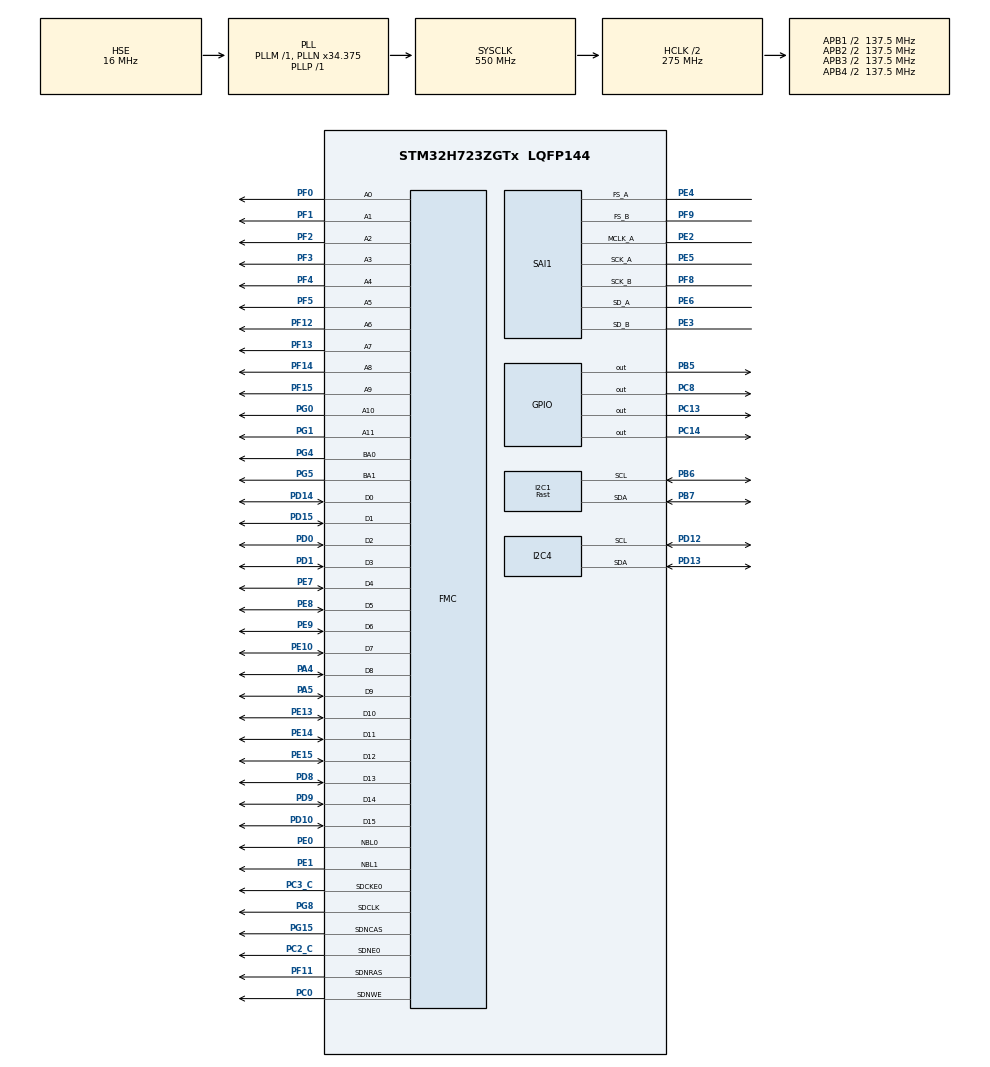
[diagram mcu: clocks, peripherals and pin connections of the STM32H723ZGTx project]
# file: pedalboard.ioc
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Dma.Request0=SAI1_A
Dma.Request1=SAI1_B
Dma.SAI1_A.0.Direction=DMA_MEMORY_TO_PERIPH
Dma.SAI1_A.0.EventEnable=DISABLE
Dma.SAI1_A.0.FIFOMode=DMA_FIFOMODE_ENABLE
Dma.SAI1_A.0.FIFOThreshold=DMA_FIFO_THRESHOLD_FULL
Dma.SAI1_A.0.Instance=DMA1_Stream0
Dma.SAI1_A.0.MemBurst=DMA_MBURST_SINGLE
Dma.SAI1_A.0.MemDataAlignment=DMA_MDATAALIGN_WORD
Dma.SAI1_A.0.MemInc=DMA_MINC_ENABLE
Dma.SAI1_A.0.Mode=DMA_CIRCULAR
Dma.SAI1_A.0.PeriphBurst=DMA_PBURST_SINGLE
Dma.SAI1_A.0.PeriphDataAlignment=DMA_PDATAALIGN_WORD
Dma.SAI1_A.0.PeriphInc=DMA_PINC_DISABLE
Dma.SAI1_A.0.Polarity=HAL_DMAMUX_REQ_GEN_RISING
Dma.SAI1_A.0.Priority=DMA_PRIORITY_VERY_HIGH
Dma.SAI1_A.0.RequestNumber=1
Dma.SAI1_A.0.SignalID=NONE
Dma.SAI1_A.0.SyncEnable=DISABLE
Dma.SAI1_A.0.SyncPolarity=HAL_DMAMUX_SYNC_NO_EVENT
Dma.SAI1_A.0.SyncRequestNumber=1
Dma.SAI1_A.0.SyncSignalID=NONE
Dma.SAI1_B.1.Direction=DMA_PERIPH_TO_MEMORY
Dma.SAI1_B.1.EventEnable=ENABLE
Dma.SAI1_B.1.FIFOMode=DMA_FIFOMODE_DISABLE
Dma.SAI1_B.1.Instance=DMA1_Stream1
Dma.SAI1_B.1.MemDataAlignment=DMA_MDATAALIGN_WORD
Dma.SAI1_B.1.MemInc=DMA_MINC_ENABLE
Dma.SAI1_B.1.Mode=DMA_CIRCULAR
Dma.SAI1_B.1.PeriphDataAlignment=DMA_PDATAALIGN_WORD
Dma.SAI1_B.1.PeriphInc=DMA_PINC_DISABLE
Dma.SAI1_B.1.Polarity=HAL_DMAMUX_REQ_GEN_RISING
Dma.SAI1_B.1.Priority=DMA_PRIORITY_VERY_HIGH
Dma.SAI1_B.1.RequestNumber=1
Dma.SAI1_B.1.SignalID=NONE
Dma.SAI1_B.1.SyncEnable=ENABLE
Dma.SAI1_B.1.SyncPolarity=HAL_DMAMUX_SYNC_RISING
Dma.SAI1_B.1.SyncRequestNumber=1
Dma.SAI1_B.1.SyncSignalID=NONE
FMC.CASLatency2=FMC_SDRAM_CAS_LATENCY_2
FMC.ExitSelfRefreshDelay2=9
FMC.LoadToActiveDelay2=2
FMC.RCDDelay2=2
FMC.RPDelay1=2
FMC.RPDelay2=2
FMC.ReadBurst1=FMC_SDRAM_RBURST_ENABLE
FMC.ReadBurst2=FMC_SDRAM_RBURST_ENABLE
FMC.ReadPipeDelay1=FMC_SDRAM_RPIPE_DELAY_2
FMC.ReadPipeDelay2=FMC_SDRAM_RPIPE_DELAY_2
FMC.RowCycleDelay1=8
FMC.RowCycleDelay2=8
FMC.SDClockPeriod1=FMC_SDRAM_CLOCK_PERIOD_2
FMC.SDClockPeriod2=FMC_SDRAM_CLOCK_PERIOD_2
FMC.SelfRefreshTime2=6
FMC.WriteRecoveryTime2=4
I2C1.I2C_Fall_Time=100
I2C1.I2C_Rise_Time=100
I2C1.I2C_Speed_Mode=I2C_Fast
I2C1.Speed=400
I2C1.Timing=0xC0210510
I2C4.Timing=0x60404E72
Mcu.Family=STM32H7
Mcu.Name=STM32H723ZGTx
Mcu.Package=LQFP144
NVIC.DMA1_Stream0_IRQn=true\:0\:0\:false\:false\:true\:false\:true\:true
NVIC.DMA1_Stream1_IRQn=true\:0\:0\:false\:false\:true\:false\:true\:true
NVIC.DMAMUX1_OVR_IRQn=true\:0\:0\:false\:false\:true\:false\:true\:true
NVIC.PriorityGroup=NVIC_PRIORITYGROUP_4
NVIC.SAI1_IRQn=true\:0\:0\:false\:false\:true\:true\:true\:true
PA13(JTMS/SWDIO).Mode=Trace_Asynchronous_SW
PA13(JTMS/SWDIO).Signal=DEBUG_JTMS-SWDIO
PA14(JTCK/SWCLK).Mode=Trace_Asynchronous_SW
PA14(JTCK/SWCLK).Signal=DEBUG_JTCK-SWCLK
PA4.Signal=FMC_D8_DA8
PA5.Signal=FMC_D9_DA9
PB3(JTDO/TRACESWO).Mode=Trace_Asynchronous_SW
PB3(JTDO/TRACESWO).Signal=DEBUG_JTDO-SWO
PB5.Signal=GPIO_Output
PB6.GPIO_Pu=GPIO_PULLUP
PB6.GPIO_Speed=GPIO_SPEED_FREQ_VERY_HIGH
PB6.Mode=I2C
PB6.Signal=I2C1_SCL
PB7.GPIO_Pu=GPIO_PULLUP
PB7.GPIO_Speed=GPIO_SPEED_FREQ_VERY_HIGH
PB7.Mode=I2C
PB7.Signal=I2C1_SDA
PC0.Signal=FMC_SDNWE
PC13.Signal=GPIO_Output
PC14-OSC32_IN.Signal=GPIO_Output
PC2_C.Mode=SdramChipSelect1_2
PC2_C.Signal=FMC_SDNE0
PC3_C.Mode=SdramChipSelect1_2
PC3_C.Signal=FMC_SDCKE0
PC8.Signal=GPIO_Output
PD0.Signal=FMC_D2_DA2
PD1.Signal=FMC_D3_DA3
PD10.Signal=FMC_D15_DA15
PD12.GPIO_Pu=GPIO_PULLUP
PD12.GPIO_Speed=GPIO_SPEED_FREQ_VERY_HIGH
PD12.Mode=I2C
PD12.Signal=I2C4_SCL
PD13.GPIO_Pu=GPIO_PULLUP
PD13.GPIO_Speed=GPIO_SPEED_FREQ_VERY_HIGH
PD13.Mode=I2C
PD13.Signal=I2C4_SDA
PD14.Signal=FMC_D0_DA0
PD15.Signal=FMC_D1_DA1
PD8.Signal=FMC_D13_DA13
PD9.Signal=FMC_D14_DA14
PE0.Signal=FMC_NBL0
PE1.Signal=FMC_NBL1
PE10.Signal=FMC_D7_DA7
PE13.Signal=FMC_D10_DA10
PE14.Signal=FMC_D11_DA11
PE15.Signal=FMC_D12_DA12
PE2.Mode=SAI_A_MasterWithClock
PE2.Signal=SAI1_MCLK_A
PE3.Mode=SAI_B_AsyncSlave
PE3.Signal=SAI1_SD_B
PE4.Mode=SAI_A_MasterWithClock
PE4.Signal=SAI1_FS_A
PE5.Mode=SAI_A_MasterWithClock
PE5.Signal=SAI1_SCK_A
PE6.Mode=SAI_A_MasterWithClock
PE6.Signal=SAI1_SD_A
PE7.Signal=FMC_D4_DA4
PE8.Signal=FMC_D5_DA5
PE9.Signal=FMC_D6_DA6
PF0.Signal=FMC_A0
PF1.Signal=FMC_A1
PF11.Signal=FMC_SDNRAS
PF12.Signal=FMC_A6
PF13.Signal=FMC_A7
PF14.Signal=FMC_A8
PF15.Signal=FMC_A9
PF2.Signal=FMC_A2
PF3.Signal=FMC_A3
PF4.Signal=FMC_A4
PF5.Signal=FMC_A5
PF8.Mode=SAI_B_AsyncSlave
PF8.Signal=SAI1_SCK_B
PF9.Mode=SAI_B_AsyncSlave
PF9.Signal=SAI1_FS_B
PG0.Signal=FMC_A10
PG1.Signal=FMC_A11
PG15.Signal=FMC_SDNCAS
PG4.Signal=FMC_A14_BA0
PG5.Signal=FMC_A15_BA1
PG8.Signal=FMC_SDCLK
PH0-OSC_IN.Mode=HSE-External-Oscillator
PH0-OSC_IN.Signal=RCC_OSC_IN
PH1-OSC_OUT.Mode=HSE-External-Oscillator
PH1-OSC_OUT.Signal=RCC_OSC_OUT
ProjectManager.HeapSize=0x200
ProjectManager.StackSize=0x400
ProjectManager.TargetToolchain=CMake
RCC.ADCFreq_Value=798000000
RCC.APB1Freq_Value=137500000
RCC.APB2Freq_Value=137500000
RCC.APB3Freq_Value=137500000
RCC.APB4Freq_Value=137500000
RCC.CortexFreq_Value=550000000
RCC.D1PPRE=RCC_APB3_DIV2
RCC.D2PPRE1=RCC_APB1_DIV2
RCC.D2PPRE2=RCC_APB2_DIV2
RCC.D3PPRE=RCC_APB4_DIV2
RCC.DIVM1=1
RCC.DIVM2=8
RCC.DIVM3=5
RCC.DIVN1=34
RCC.DIVN2=399
RCC.DIVN3=96
RCC.DIVP1=1
RCC.DIVP2=1
RCC.DIVP3=25
RCC.DIVQ1=25
RCC.DIVR2=3
RCC.FMCCLockSelection=RCC_FMCCLKSOURCE_PLL2
RCC.HCLKFreq_Value=275000000
RCC.HPRE=RCC_HCLK_DIV2
RCC.HSE_VALUE=16000000
RCC.PLL2FRACN=0
RCC.PLL3FRACN=0
RCC.PLLFRACN=3072
RCC.PLLSourceVirtual=RCC_PLLSOURCE_HSE
RCC.SAI1CLockSelection=RCC_SAI1CLKSOURCE_PLL3
RCC.SYSCLKFreq_VALUE=550000000
RCC.SYSCLKSource=RCC_SYSCLKSOURCE_PLLCLK
RCC.USBFreq_Value=22000000
SAI1.AudioFrequency-SAI_A_MasterWithClock=SAI_AUDIO_FREQUENCY_48K
SAI1.DataSize-SAI_A_MasterWithClock=SAI_DATASIZE_24
SAI1.DataSize-SAI_B_AsyncSlave=SAI_DATASIZE_24
SAI1.ErrorAudioFreq-SAI_A_MasterWithClock=0.0 %
SAI1.FrameLength-SAI_A_MasterWithClock=256
SAI1.FrameLength-SAI_B_AsyncSlave=256
SAI1.Instance-SAI_A_MasterWithClock=SAI$Index_Block_A
SAI1.Instance-SAI_B_AsyncSlave=SAI$Index_Block_B
SAI1.MckOutput-SAI_A_MasterWithClock=SAI_MCK_OUTPUT_ENABLE
SAI1.NoDivider-SAI_A_MasterWithClock=SAI_MASTERDIVIDER_ENABLE
SAI1.RealAudioFreq-SAI_A_MasterWithClock=48.0 KHz
SAI1.SlotActive-SAI_A_MasterWithClock=0x0000FFFF
SAI1.SlotNumber-SAI_A_MasterWithClock=8
SAI1.SlotNumber-SAI_B_AsyncSlave=6
SAI1.SlotSize-SAI_A_MasterWithClock=SAI_SLOTSIZE_32B
SAI1.SlotSize-SAI_B_AsyncSlave=SAI_SLOTSIZE_32B
SAI1.VirtualMode-SAI_A_MasterWithClock=VM_MASTER
SAI1.VirtualMode-SAI_B_AsyncSlave=VM_SLAVE
SAI1.VirtualSlotActive-SAI_A_MasterWithClock=SAI_SLOTACTIVE_ALL
SH.FMC_A0.0=FMC_A0,12b-sda2
SH.FMC_A1.0=FMC_A1,12b-sda2
SH.FMC_A10.0=FMC_A10,12b-sda2
SH.FMC_A11.0=FMC_A11,12b-sda2
SH.FMC_A14_BA0.0=FMC_BA0,FourSdramBanks2
SH.FMC_A15_BA1.0=FMC_BA1,FourSdramBanks2
SH.FMC_A2.0=FMC_A2,12b-sda2
SH.FMC_A3.0=FMC_A3,12b-sda2
SH.FMC_A4.0=FMC_A4,12b-sda2
SH.FMC_A5.0=FMC_A5,12b-sda2
SH.FMC_A6.0=FMC_A6,12b-sda2
SH.FMC_A7.0=FMC_A7,12b-sda2
SH.FMC_A8.0=FMC_A8,12b-sda2
SH.FMC_A9.0=FMC_A9,12b-sda2
SH.FMC_D0_DA0.0=FMC_D0,sd-16b-d2
SH.FMC_D10_DA10.0=FMC_D10,sd-16b-d2
SH.FMC_D11_DA11.0=FMC_D11,sd-16b-d2
SH.FMC_D12_DA12.0=FMC_D12,sd-16b-d2
SH.FMC_D13_DA13.0=FMC_D13,sd-16b-d2
SH.FMC_D14_DA14.0=FMC_D14,sd-16b-d2
SH.FMC_D15_DA15.0=FMC_D15,sd-16b-d2
SH.FMC_D1_DA1.0=FMC_D1,sd-16b-d2
SH.FMC_D2_DA2.0=FMC_D2,sd-16b-d2
SH.FMC_D3_DA3.0=FMC_D3,sd-16b-d2
SH.FMC_D4_DA4.0=FMC_D4,sd-16b-d2
SH.FMC_D5_DA5.0=FMC_D5,sd-16b-d2
SH.FMC_D6_DA6.0=FMC_D6,sd-16b-d2
SH.FMC_D7_DA7.0=FMC_D7,sd-16b-d2
SH.FMC_D8_DA8.0=FMC_D8,sd-16b-d2
SH.FMC_D9_DA9.0=FMC_D9,sd-16b-d2
SH.FMC_NBL0.0=FMC_NBL0,Sd2ByteEnable2
SH.FMC_NBL1.0=FMC_NBL1,Sd2ByteEnable2
SH.FMC_SDCLK.0=FMC_SDCLK,12b-sda2
SH.FMC_SDNCAS.0=FMC_SDNCAS,12b-sda2
SH.FMC_SDNRAS.0=FMC_SDNRAS,12b-sda2
SH.FMC_SDNWE.0=FMC_SDNWE,12b-sda2
VP_MEMORYMAP_VS_MEMORYMAP.Mode=CurAppReg
VP_SAI1_VP_$IpInstance_SYNCHRO_EXTERNAL.Mode=SynchroExternal
board=custom

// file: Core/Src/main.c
/* USER CODE BEGIN Header */
/**
  ******************************************************************************
  * @file           : main.c
  * @brief          : Main program body
  ******************************************************************************
  * @attention
  *
  * Copyright (c) 2025 STMicroelectronics.
  * All rights reserved.
  *
  * This software is licensed under terms that can be found in the LICENSE file
  * in the root directory of this software component.
  * If no LICENSE file comes with this software, it is provided AS-IS.
  *
  ******************************************************************************
  */
/* USER CODE END Header */
#include "main.h"
#include "dma.h"
#include "i2c.h"
#include "memorymap.h"
#include "sai.h"
#include "gpio.h"
#include "fmc.h"

/* USER CODE BEGIN Includes */
#include <stdint.h>
#include <string.h>
#include <stdio.h>
/* USER CODE END Includes */

/* USER CODE BEGIN PTD */
typedef struct {
    // Filter coefficients
    float filter_coeffs[FILTER_TAP_NUM];
    // Delay line for FIR filter
    float delay_line[FILTER_TAP_NUM];
    uint32_t delay_line_index;
    // Volume control (0.0 to 1.0)
    float volume;
    // Sample rate conversion ratio
    float src_ratio;
} PCM3168A_DSP_Channel;

typedef struct {
    I2C_HandleTypeDef *hi2c1;
    PCM3168A_DSP_Channel dac_channels[PCM3168A_NUM_CHANNELS];
    PCM3168A_DSP_Channel adc_channels[PCM3168A_NUM_ADC];
    // Global configuration
    uint32_t sample_rate;
    uint8_t bits_per_sample;
    // Processing buffers
    int32_t input_buffer[BUFFER_SIZE];
    int32_t output_buffer[BUFFER_SIZE];
} PCM3168A_DSP;

// Structure to hold frequency detection state
typedef struct {
    int32_t prev_sample;
    uint32_t zero_crossings;
    uint32_t sample_count;
    float current_frequency;
} FrequencyDetector;
/* USER CODE END PTD */

/* USER CODE BEGIN PM */
// Use SIMD instructions where possible
#pragma GCC push_options
#pragma GCC target ("fpu=fpv5-d16")
/* USER CODE END PM */

/* USER CODE BEGIN PV */
// DMA buffers
__attribute__((section(".dtcmram")))
static uint8_t DMA_TxBuffer[BUFFER_SIZE * 4]; // *4 because each 32-bit sample needs 4 bytes

__attribute__((section(".dtcmram")))
static uint8_t DMA_RxBuffer[BUFFER_SIZE * 4];

// Processing buffers
static int32_t ProcessTxBuffer[BUFFER_SIZE];
static int32_t ProcessRxBuffer[BUFFER_SIZE];

PCM3168A_DSP dsp;

FrequencyDetector freq_detector;

const int DC1_24_BIT_I2S_TDM = 0x06; // DAC_CONTROL_1: set 24-bit I²S mode, TDM format
const int AC1_24_BIT_I2S_TDM = 0x06; // ADC_CONTROL_1: set 24-bit I²S mode, TDM format

enum PCM3168reg {RESET_CONTROL = 0x40, DAC_CONTROL_1, DAC_CONTROL_2,
                  DAC_OUTPUT_PHASE, DAC_SOFT_MUTE_CONTROL, DAC_ZERO_FLAG,
                  DAC_CONTROL_3, DAC_ATTENUATION_ALL, DAC_ATTENUATION_BASE /* 8 registers */,
                  ADC_SAMPLING_MODE = 0x50, ADC_CONTROL_1, ADC_CONTROL_2,
                  ADC_INPUT_CONFIGURATION, ADC_INPUT_PHASE, ADC_SOFT_MUTE_CONTROL,
                  ADC_OVERFLOW_FLAG, ADC_CONTROL_3,
                  ADC_ATTENUATION_ALL, ADC_ATTENUATION_BASE /* 6 registers */
};
/* USER CODE END PV */

void SystemClock_Config(void);
void PeriphCommonClock_Config(void);
/* USER CODE BEGIN PFP */
void lcd_send_cmd (char cmd);
void lcd_send_data (char data);
void lcd_send_string (char *str);
void lcd_put_cur(int row, int col);
void lcd_init (void);

/* USER CODE END PFP */

/* USER CODE BEGIN 0 */
HAL_StatusTypeDef PCM3168A_WriteReg(I2C_HandleTypeDef *hi2c, uint8_t reg, uint8_t value)
{
    uint8_t data[2];
    data[0] = reg;
    data[1] = value;

    char buffer[16] = "";
    int i = 0;
    HAL_StatusTypeDef actualStatus = HAL_OK;
    for(i = 0; i<256; i++)
    {
        actualStatus = HAL_I2C_Master_Transmit(hi2c, i, data, 2, 100);
        if(actualStatus == HAL_OK)
        {
            snprintf(buffer,16,"%d [%d]",i,hi2c->ErrorCode);
            lcd_put_cur(0, 0);
            lcd_send_string("Maybe this:");
            lcd_put_cur(1, 0);
            lcd_send_string(buffer);
            break;
        }
        else
        {
            snprintf(buffer,16,"%d [%d]",i,hi2c->ErrorCode);
            lcd_put_cur(0, 0);
            lcd_send_string("Not this:");
            lcd_put_cur(1, 0);
            lcd_send_string(buffer);
        }
        HAL_Delay(200);
    }

    return HAL_I2C_Master_Transmit(hi2c, PCM3168A_I2C_ADDR, data, 2, 100);
}

// Function to read from PCM3168A register
HAL_StatusTypeDef PCM3168A_ReadReg(I2C_HandleTypeDef *hi2c, uint8_t reg, uint8_t *value)
{
    HAL_StatusTypeDef status;

    // Send register address
    status = HAL_I2C_Master_Transmit(hi2c, PCM3168A_I2C_ADDR, &reg, 1, HAL_MAX_DELAY);
    if (status != HAL_OK) return status;

    // Read register value
    return HAL_I2C_Master_Receive(hi2c, PCM3168A_I2C_ADDR + 1, value, 1, HAL_MAX_DELAY);
}
// Initialize DSP structure
void PCM3168A_DSP_Init(PCM3168A_DSP* dsp) {
    HAL_GPIO_WritePin(GPIOB, GPIO_PIN_5, GPIO_PIN_RESET);
    HAL_GPIO_WritePin(GPIOC, GPIO_PIN_13, GPIO_PIN_RESET);
    HAL_Delay(1);
    HAL_GPIO_WritePin(GPIOB, GPIO_PIN_5, GPIO_PIN_SET);
    HAL_GPIO_WritePin(GPIOC, GPIO_PIN_13, GPIO_PIN_SET);
    HAL_Delay(1000);

    uint8_t output;
    HAL_StatusTypeDef actualState = HAL_OK;
    actualState = PCM3168A_ReadReg(dsp->hi2c1, DAC_CONTROL_1, &output);
    if(actualState != HAL_OK)
        printf("HAL_KO in first ReadReg: %d",actualState);
    actualState = PCM3168A_WriteReg(dsp->hi2c1, DAC_CONTROL_1, DC1_24_BIT_I2S_TDM)
        && PCM3168A_WriteReg(dsp->hi2c1, ADC_CONTROL_1, AC1_24_BIT_I2S_TDM)
        && PCM3168A_WriteReg(dsp->hi2c1, DAC_SOFT_MUTE_CONTROL, 0x00)
        && PCM3168A_WriteReg(dsp->hi2c1, ADC_SOFT_MUTE_CONTROL, 0x00);
    if(actualState != HAL_OK)
        printf("HAL_KO in WriteReg: %d",actualState);
    actualState = PCM3168A_ReadReg(dsp->hi2c1, DAC_CONTROL_1, &output);
    if(actualState != HAL_OK)
        printf("HAL_KO in second ReadReg: %d",actualState);
    memset(dsp, 0, sizeof(PCM3168A_DSP));
    dsp->sample_rate = PCM3168A_SAMPLE_RATE;
    dsp->bits_per_sample = PCM3168A_BITS_PER_SAMPLE;

    // Initialize channels
    for(int i = 0; i < PCM3168A_NUM_CHANNELS; i++) {
        dsp->dac_channels[i].volume = 1.0f;
        dsp->dac_channels[i].src_ratio = 1.0f;
        // Initialize FIR filter coefficients with lowpass filter
        for(int j = 0; j < FILTER_TAP_NUM; j++) {
            // Simple lowpass filter coefficients - should be replaced with actual design
            dsp->dac_channels[i].filter_coeffs[j] = 1.0f / FILTER_TAP_NUM;
        }
    }

    for(int i = 0; i < PCM3168A_NUM_ADC; i++) {
        dsp->adc_channels[i].volume = 1.0f;
        dsp->adc_channels[i].src_ratio = 1.0f;
    }
}

// Apply FIR filter to a single sample
float PCM3168A_DSP_ApplyFIR(PCM3168A_DSP_Channel* channel, float input) {
    // Update delay line
    channel->delay_line[channel->delay_line_index] = input;
    channel->delay_line_index = (channel->delay_line_index + 1) % FILTER_TAP_NUM;

    float output = 0.0f;
    int index = channel->delay_line_index;

    // Apply FIR filter
    for(int i = 0; i < FILTER_TAP_NUM; i++) {
        output += channel->delay_line[index] * channel->filter_coeffs[i];
        index = (index + 1) % FILTER_TAP_NUM;
    }

    return output;
}

// Process a block of samples for DAC output
void PCM3168A_DSP_ProcessDACBlock(PCM3168A_DSP* dsp, uint32_t channel,
                                 const int32_t* input, int32_t* output,
                                 uint32_t num_samples) {
    PCM3168A_DSP_Channel* chan = &dsp->dac_channels[channel];

    for(uint32_t i = 0; i < num_samples; i++) {
        // Convert to float for processing
        float sample = (float)input[i] / (1 << (dsp->bits_per_sample - 1));

        // Apply DSP chain
        sample = PCM3168A_DSP_ApplyFIR(chan, sample);
        sample *= chan->volume;

        // Convert back to fixed point
        output[i] = (int32_t)(sample * (1 << (dsp->bits_per_sample - 1)));
    }
}

// Process a block of samples from ADC input
void PCM3168A_DSP_ProcessADCBlock(PCM3168A_DSP* dsp, uint32_t channel,
                                 const int32_t* input, int32_t* output,
                                 uint32_t num_samples) {
    PCM3168A_DSP_Channel* chan = &dsp->adc_channels[channel];

    for(uint32_t i = 0; i < num_samples; i++) {
        // Convert to float for processing
        float sample = (float)input[i] / (1 << (dsp->bits_per_sample - 1));

        // Apply DSP chain
        sample = PCM3168A_DSP_ApplyFIR(chan, sample);
        sample *= chan->volume;

        // Convert back to fixed point
        output[i] = (int32_t)(sample * (1 << (dsp->bits_per_sample - 1)));
    }
}

// Set channel volume (0.0 to 1.0)
void PCM3168A_DSP_SetVolume(PCM3168A_DSP* dsp, uint32_t channel, float volume) {
    if(channel < PCM3168A_NUM_CHANNELS) {
        dsp->dac_channels[channel].volume = volume;
    }
}

// Update filter coefficients for a channel
void PCM3168A_DSP_UpdateFilter(PCM3168A_DSP* dsp, uint32_t channel,
                              const float* coeffs, uint32_t num_coeffs) {
    if(channel < PCM3168A_NUM_CHANNELS && num_coeffs <= FILTER_TAP_NUM) {
        memcpy(dsp->dac_channels[channel].filter_coeffs, coeffs,
               num_coeffs * sizeof(float));
    }
}
void ProcessAudio(int32_t* input, int32_t* output, uint32_t size)
{
    // Simple passthrough for testing
    for(uint32_t i = 0; i < size; i++)
    {
        output[i] = input[i];
    }
}

// Initialize the frequency detector
void FrequencyDetector_Init(FrequencyDetector* detector) {
    detector->prev_sample = 0;
    detector->zero_crossings = 0;
    detector->sample_count = 0;
    detector->current_frequency = 0.0f;
}

void lcd_send_cmd (char cmd)
{
  char data_u, data_l;
  data_u = (cmd&0xf0);
  data_l = ((cmd<<4)&0xf0);
  uint8_t data_t[4];
  data_t[0] = data_u|0x0C;  //en=1, rs=0 -> bxxxx1100
  data_t[1] = data_u|0x08;  //en=0, rs=0 -> bxxxx1000
  data_t[2] = data_l|0x0C;  //en=1, rs=0 -> bxxxx1100
  data_t[3] = data_l|0x08;  //en=0, rs=0 -> bxxxx1000
  HAL_I2C_Master_Transmit (&hi2c4, SLAVE_ADDRESS_LCD,(uint8_t *) data_t, 4, 100);
}
void lcd_send_data (char data)
{
	char data_u, data_l;
	uint8_t data_t[4];
	data_u = (data&0xf0);
	data_l = ((data<<4)&0xf0);
	data_t[0] = data_u|0x0D;  //en=1, rs=1 -> bxxxx1101
	data_t[1] = data_u|0x09;  //en=0, rs=1 -> bxxxx1001
	data_t[2] = data_l|0x0D;  //en=1, rs=1 -> bxxxx1101
	data_t[3] = data_l|0x09;  //en=0, rs=1 -> bxxxx1001
	HAL_I2C_Master_Transmit (&hi2c4, SLAVE_ADDRESS_LCD,(uint8_t *) data_t, 4, 100);
}
void lcd_init (void)
{
  // 4 bit initialisation
  HAL_Delay(50);  // wait for >40ms
  lcd_send_cmd (0x30);
  HAL_Delay(5);  // wait for >4.1ms
  lcd_send_cmd (0x30);
  HAL_Delay(1);  // wait for >100us
  lcd_send_cmd (0x30);
  HAL_Delay(10);
  lcd_send_cmd (0x20);  // 4bit mode
  HAL_Delay(10);

  // display initialisation
  lcd_send_cmd (0x28); // Function set --> DL=0 (4 bit mode), N = 1 (2 line display) F = 0 (5x8 characters)
  HAL_Delay(1);
  lcd_send_cmd (0x08); //Display on/off control --> D=0,C=0, B=0  ---> display off
  HAL_Delay(1);
  lcd_send_cmd (0x01);  // clear display
  HAL_Delay(2);
  lcd_send_cmd (0x06); //Entry mode set --> I/D = 1 (increment cursor) & S = 0 (no shift)
  HAL_Delay(1);
  lcd_send_cmd (0x0C); //Display on/off control --> D = 1, C and B = 0. (Cursor and blink, last two bits)
}
void lcd_send_string (char *str)
{
  while (*str) lcd_send_data (*str++);
}
void lcd_put_cur(int row, int col)
{
    switch (row)
    {
        case 0:
            col |= 0x80;
            break;
        case 1:
            col |= 0xC0;
            break;
    }
    lcd_send_cmd (col);
}
/* USER CODE END 0 */

int main(void)
{

  /* MCU Configuration--------------------------------------------------------*/

  /* Reset of all peripherals, Initializes the Flash interface and the Systick. */
  HAL_Init();

  /* Configure the system clock */
  SystemClock_Config();

  /* Configure the peripherals common clocks */
  PeriphCommonClock_Config();

  /* Initialize all configured peripherals */
  MX_GPIO_Init();
  MX_DMA_Init();
  MX_SAI1_Init();
  MX_I2C1_Init();
  MX_FMC_Init();
  MX_I2C4_Init();
  /* USER CODE BEGIN 2 */
  // Display Strings
  lcd_init ();
  lcd_put_cur(0, 0);
  lcd_send_string ("Starting");
  lcd_put_cur(1, 0);
  lcd_send_string("Device...");
  // Initialize DSP
  dsp.hi2c1 = &hi2c1;
  PCM3168A_DSP_Init(&dsp);
  FrequencyDetector_Init(&freq_detector);
  printf("Starting\r\n");
  // Start DMA transfers
  if(HAL_SAI_Receive_DMA(&hsai_BlockB1, DMA_RxBuffer, BUFFER_SIZE * 4) != HAL_OK)
  {
      Error_Handler();
  }
  /*if(HAL_SAI_Transmit_DMA(&hsai_BlockA1, DMA_TxBuffer, BUFFER_SIZE * 4) != HAL_OK)
  {
      Error_Handler();
  }*/
  HAL_GPIO_WritePin(GPIOC, GPIO_PIN_13, GPIO_PIN_SET);
  HAL_GPIO_WritePin(GPIOC, GPIO_PIN_14, GPIO_PIN_RESET);

  /* USER CODE END 2 */

  /* Infinite loop */
  /* USER CODE BEGIN WHILE */

  while (1)
  {
	  HAL_GPIO_TogglePin (GPIOC, GPIO_PIN_13);
	  HAL_GPIO_TogglePin (GPIOC, GPIO_PIN_14);
	  HAL_Delay (500);   /* Insert delay 100 ms */
    /* USER CODE END WHILE */

  }
}

void SystemClock_Config(void)
{
  RCC_OscInitTypeDef RCC_OscInitStruct = {0};
  RCC_ClkInitTypeDef RCC_ClkInitStruct = {0};

  /** Supply configuration update enable
  */
  HAL_PWREx_ConfigSupply(PWR_LDO_SUPPLY);

  /** Configure the main internal regulator output voltage
  */
  __HAL_PWR_VOLTAGESCALING_CONFIG(PWR_REGULATOR_VOLTAGE_SCALE0);

  while(!__HAL_PWR_GET_FLAG(PWR_FLAG_VOSRDY)) {}

  /** Initializes the RCC Oscillators according to the specified parameters
  * in the RCC_OscInitTypeDef structure.
  */
  RCC_OscInitStruct.OscillatorType = RCC_OSCILLATORTYPE_HSE;
  RCC_OscInitStruct.HSEState = RCC_HSE_ON;
  RCC_OscInitStruct.PLL.PLLState = RCC_PLL_ON;
  RCC_OscInitStruct.PLL.PLLSource = RCC_PLLSOURCE_HSE;
  RCC_OscInitStruct.PLL.PLLM = 1;
  RCC_OscInitStruct.PLL.PLLN = 34;
  RCC_OscInitStruct.PLL.PLLP = 1;
  RCC_OscInitStruct.PLL.PLLQ = 25;
  RCC_OscInitStruct.PLL.PLLR = 2;
  RCC_OscInitStruct.PLL.PLLRGE = RCC_PLL1VCIRANGE_3;
  RCC_OscInitStruct.PLL.PLLVCOSEL = RCC_PLL1VCOWIDE;
  RCC_OscInitStruct.PLL.PLLFRACN = 3072;
  if (HAL_RCC_OscConfig(&RCC_OscInitStruct) != HAL_OK)
  {
    Error_Handler();
  }

  /** Initializes the CPU, AHB and APB buses clocks
  */
  RCC_ClkInitStruct.ClockType = RCC_CLOCKTYPE_HCLK|RCC_CLOCKTYPE_SYSCLK
                              |RCC_CLOCKTYPE_PCLK1|RCC_CLOCKTYPE_PCLK2
                              |RCC_CLOCKTYPE_D3PCLK1|RCC_CLOCKTYPE_D1PCLK1;
  RCC_ClkInitStruct.SYSCLKSource = RCC_SYSCLKSOURCE_PLLCLK;
  RCC_ClkInitStruct.SYSCLKDivider = RCC_SYSCLK_DIV1;
  RCC_ClkInitStruct.AHBCLKDivider = RCC_HCLK_DIV2;
  RCC_ClkInitStruct.APB3CLKDivider = RCC_APB3_DIV2;
  RCC_ClkInitStruct.APB1CLKDivider = RCC_APB1_DIV2;
  RCC_ClkInitStruct.APB2CLKDivider = RCC_APB2_DIV2;
  RCC_ClkInitStruct.APB4CLKDivider = RCC_APB4_DIV2;

  if (HAL_RCC_ClockConfig(&RCC_ClkInitStruct, FLASH_LATENCY_3) != HAL_OK)
  {
    Error_Handler();
  }
}

void PeriphCommonClock_Config(void)
{
  RCC_PeriphCLKInitTypeDef PeriphClkInitStruct = {0};

  /** Initializes the peripherals clock
  */
  PeriphClkInitStruct.PeriphClockSelection = RCC_PERIPHCLK_SAI1;
  PeriphClkInitStruct.PLL3.PLL3M = 5;
  PeriphClkInitStruct.PLL3.PLL3N = 96;
  PeriphClkInitStruct.PLL3.PLL3P = 25;
  PeriphClkInitStruct.PLL3.PLL3Q = 2;
  PeriphClkInitStruct.PLL3.PLL3R = 2;
  PeriphClkInitStruct.PLL3.PLL3RGE = RCC_PLL3VCIRANGE_1;
  PeriphClkInitStruct.PLL3.PLL3VCOSEL = RCC_PLL3VCOWIDE;
  PeriphClkInitStruct.PLL3.PLL3FRACN = 0;
  PeriphClkInitStruct.Sai1ClockSelection = RCC_SAI1CLKSOURCE_PLL3;
  if (HAL_RCCEx_PeriphCLKConfig(&PeriphClkInitStruct) != HAL_OK)
  {
    Error_Handler();
  }
}

/* USER CODE BEGIN 4 */

// Process samples and calculate frequency
void FrequencyDetector_Process(FrequencyDetector* detector, const int32_t* samples, uint32_t num_samples) {
    for(uint32_t i = 0; i < num_samples; i++) {
        // Detect zero crossing (positive slope)
        if (detector->prev_sample <= DETECTION_THRESHOLD && samples[i] > DETECTION_THRESHOLD) {
            detector->zero_crossings++;
        }

        detector->prev_sample = samples[i];
        detector->sample_count++;

        // Calculate frequency when we have enough samples
        if (detector->sample_count >= SAMPLE_WINDOW) {
            // Frequency = (zero crossings / 2) * (sample rate / window size)
            detector->current_frequency = (float)(detector->zero_crossings) * PCM3168A_SAMPLE_RATE /
                                       (2.0f * SAMPLE_WINDOW);

            // Print frequency to debug console
            printf("Current frequency: %.2f Hz\r\n", detector->current_frequency);

            // Reset counters
            detector->zero_crossings = 0;
            detector->sample_count = 0;
        }
    }
}
void HAL_SAI_RxCpltCallback(SAI_HandleTypeDef *hsai)
{
    if(hsai->Instance == SAI1_Block_B)
    {
        // Convert byte buffer to int32_t buffer
        for(int i = 0; i < BUFFER_SIZE; i++) {
            ProcessRxBuffer[i] = (DMA_RxBuffer[i*4] << 24) |
                                (DMA_RxBuffer[i*4 + 1] << 16) |
                                (DMA_RxBuffer[i*4 + 2] << 8) |
                                DMA_RxBuffer[i*4 + 3];
        }
        FrequencyDetector_Process(&freq_detector, ProcessRxBuffer, BUFFER_SIZE);
        // Process received audio data
        PCM3168A_DSP_ProcessADCBlock(&dsp, 0, ProcessRxBuffer, ProcessTxBuffer, BUFFER_SIZE);

        // Convert processed data back to byte buffer
        for(int i = 0; i < BUFFER_SIZE; i++) {
            DMA_TxBuffer[i*4] = (ProcessTxBuffer[i] >> 24) & 0xFF;
            DMA_TxBuffer[i*4 + 1] = (ProcessTxBuffer[i] >> 16) & 0xFF;
            DMA_TxBuffer[i*4 + 2] = (ProcessTxBuffer[i] >> 8) & 0xFF;
            DMA_TxBuffer[i*4 + 3] = ProcessTxBuffer[i] & 0xFF;
        }
    }
}

void HAL_SAI_RxHalfCpltCallback(SAI_HandleTypeDef *hsai)
{
    if(hsai->Instance == SAI1_Block_B)
    {
        // Process first half of buffer
        // Convert byte buffer to int32_t buffer (first half)
        for(int i = 0; i < BUFFER_SIZE/2; i++) {
            ProcessRxBuffer[i] = (DMA_RxBuffer[i*4] << 24) |
                                (DMA_RxBuffer[i*4 + 1] << 16) |
                                (DMA_RxBuffer[i*4 + 2] << 8) |
                                DMA_RxBuffer[i*4 + 3];
        }

        PCM3168A_DSP_ProcessADCBlock(&dsp, 0, ProcessRxBuffer, ProcessTxBuffer, BUFFER_SIZE/2);

        // Convert processed data back to byte buffer (first half)
        for(int i = 0; i < BUFFER_SIZE/2; i++) {
            DMA_TxBuffer[i*4] = (ProcessTxBuffer[i] >> 24) & 0xFF;
            DMA_TxBuffer[i*4 + 1] = (ProcessTxBuffer[i] >> 16) & 0xFF;
            DMA_TxBuffer[i*4 + 2] = (ProcessTxBuffer[i] >> 8) & 0xFF;
            DMA_TxBuffer[i*4 + 3] = ProcessTxBuffer[i] & 0xFF;
        }
    }
}
/* USER CODE END 4 */

void Error_Handler(void)
{
  __disable_irq();
  while (1)
  {
  }
}
